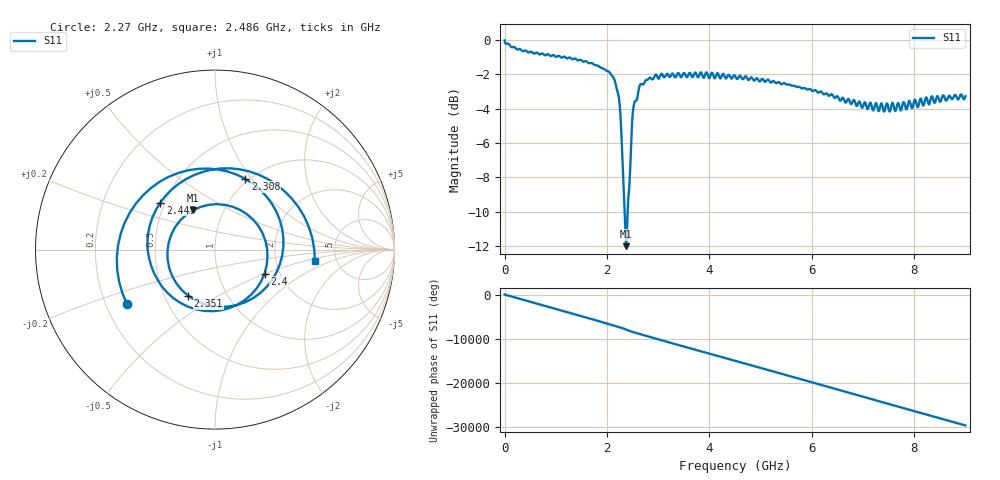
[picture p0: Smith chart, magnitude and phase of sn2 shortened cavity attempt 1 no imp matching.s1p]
# Hz S DB R 50
! CMT, C1209, 21460007, 21.4.4/2
! Date: 4/14/2023 1:33:27 PM
! Data: Format (Calibration Info)
! Freq	S11:dB/Ang(--)
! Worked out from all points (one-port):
!   5000 points, 100 kHz to 9 GHz, reference 50 ohm
!   lowest |S11| = -12.0 dB at 2.373 GHz (marker M1), VSWR 1.67, Z = 35.9 + j16.8 ohm
!   |S11| at or under -10 dB: 2.345 GHz to 2.403 GHz (57.75 MHz wide, 2.43 % of centre)
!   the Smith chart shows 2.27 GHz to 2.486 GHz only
!   S11 on the Smith chart (normalised r, x): 2.27 GHz: 0.29, -0.26; 2.308 GHz: 0.96, +0.93; 2.351 GHz: 0.66, -0.37; 2.4 GHz: 1.67, -0.49; 2.447 GHz: 0.47, +0.30; 2.486 GHz: 3.43, -0.61
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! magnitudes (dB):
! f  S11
! 100 kHz  0.0
! 353 MHz  -0.6
! 1.125 GHz  -1.0
! 1.705 GHz  -1.3
! 2.045 GHz  -1.9
! 2.18 GHz  -2.7
! 2.222 GHz  -3.2
! 2.251 GHz  -3.9
! 2.27 GHz  -4.8
! 2.308 GHz  -7.4
! 2.335 GHz  -9.1
! 2.351 GHz  -10.5
! 2.373 GHz  -12.0
! 2.4 GHz  -10.3
! 2.416 GHz  -9.2
! 2.447 GHz  -7.9
! 2.486 GHz  -5.0
! 2.51 GHz  -4.1
! 2.533 GHz  -3.7
! 2.661 GHz  -2.6
! 2.945 GHz  -2.0
! 3.376 GHz  -2.0
! 4.501 GHz  -2.1
! 5.626 GHz  -2.7
! 6.751 GHz  -3.7
! 7.412 GHz  -4.2
! 7.877 GHz  -3.8
! 9 GHz  -3.3
